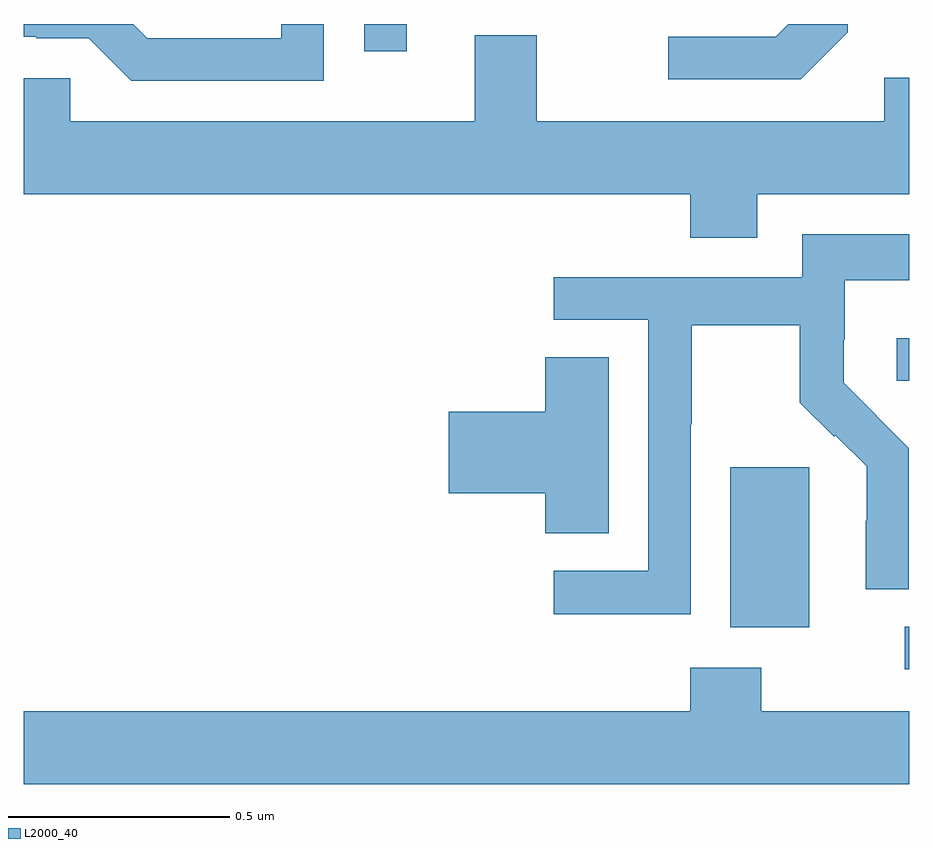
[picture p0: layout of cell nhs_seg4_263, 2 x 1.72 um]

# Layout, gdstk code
import gdstk
lib = gdstk.Library(unit=1e-6, precision=1e-09)
def R(c, l, rs):  # rectangles x0, y0, x1, y1
    for r in rs: c.add(gdstk.rectangle(r[:2], r[2:], *l))
def P(c, l, *ps):  # polygons
    for p in ps: c.add(gdstk.Polygon(p, *l))
L2000_40 = (2000, 40)

nhs_seg4_263 = lib.new_cell('nhs_seg4_263')
R(nhs_seg4_263, L2000_40, [(115.989,766.443,116,766.539), (115.595,766.538,115.774,766.899), (115.971,767.094,116,767.191), (114.769,767.838,114.865,767.9)])
P(nhs_seg4_263, L2000_40, [(115.861,767.881),(115.861,767.9),(115.727,767.9),(115.698,767.871),(115.455,767.871),(115.455,767.775),(115.755,767.775)],
  [(114.678,767.9),(114.582,767.9),(114.582,767.868),(114.279,767.868),(114.247,767.9),(114,767.9),(114,767.871),(114.029,767.871),(114.029,767.868),(114.147,767.868),(114.243,767.772),(114.678,767.772)],
  [(115.657,767.516),(116,767.516),(116,767.779),(115.943,767.779),(115.943,767.68),(115.159,767.68),(115.159,767.875),(115.019,767.875),(115.019,767.68),(114.105,767.68),(114.105,767.778),(114,767.778),(114,767.516),(115.505,767.516),(115.505,767.417),(115.657,767.417)],
  [(115.506,766.996),(115.509,766.996),(115.509,767.22),(115.753,767.22),(115.753,767.045),(115.83,766.968),(115.833,766.971),(115.904,766.901),(115.904,766.778),(115.902,766.778),(115.902,766.624),(115.998,766.624),(115.998,766.942),(115.925,767.015),(115.926,767.016),(115.852,767.09),(115.852,767.187),(115.854,767.187),(115.854,767.321),(116,767.321),(116,767.425),(115.758,767.425),(115.758,767.328),(115.197,767.328),(115.197,767.232),(115.41,767.232),(115.41,766.665),(115.197,766.665),(115.197,766.567),(115.506,766.567)],
  [(115.321,767.147),(115.178,767.147),(115.178,767.024),(114.96,767.024),(114.96,766.841),(115.178,766.841),(115.178,766.75),(115.321,766.75)],
  [(116,766.348),(115.665,766.348),(115.665,766.447),(115.505,766.447),(115.505,766.348),(114,766.348),(114,766.184),(116,766.184)])

lib.write_gds('nhs_seg4_263.gds')
